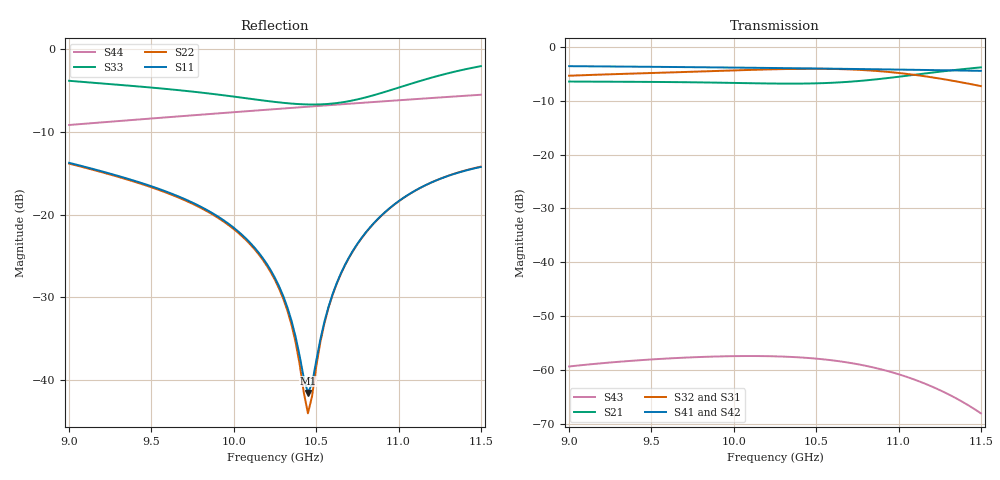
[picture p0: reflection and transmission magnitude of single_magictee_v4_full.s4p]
! Generated from PyAEDT SolutionData; AEDT ExportNetworkData workaround
# GHz S MA R 50
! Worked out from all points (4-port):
!   101 points, 9 GHz to 11.5 GHz, reference 50 ohm
!   strongest paths, dB at 9 GHz, 9.625 GHz, 10.25 GHz, 10.88 GHz, 11.5 GHz:
!     S41: -3.6, -3.7, -3.9, -4.2, -4.4
!     S42: -3.6, -3.7, -3.9, -4.2, -4.5
!     S32: -5.4, -4.7, -4.2, -4.5, -7.3
!     S31: -5.4, -4.7, -4.2, -4.5, -7.3
!     S21: -6.4, -6.5, -6.8, -6.0, -3.8
!     S43: -59.3, -57.8, -57.5, -59.7, -68.0
!   lowest |S11| = -41.6 dB at 10.45 GHz (marker M1), VSWR 1.02, Z = 50.6 + j0.595 ohm
!   |S11| at or under -10 dB: start of sweep to end of sweep
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9  0.206 139.1  0.4769 179.9  0.5398 -99.7  0.6624 44.7
   0.4769 179.9  0.2038 138.8  0.54 -99.7  0.6629 -135.3
   0.5398 -99.7  0.54 -99.7  0.6458 172.7  0.00108 -40.1
   0.6624 44.7  0.6629 -135.3  0.00108 -40.1  0.349 -113.1
9.325  0.1686 102.0  0.4746 144.8  0.5614 -157.5  0.6566 7.4
       0.4746 144.8  0.1664 101.6  0.5616 -157.4  0.6571 -172.5
       0.5614 -157.5  0.5616 -157.4  0.6078 91.1  0.001201 -104.8
       0.6566 7.4  0.6571 -172.5  0.001201 -104.8  0.3702 -147.9
9.65  0.1308 65.2  0.471 110.9  0.5815 145.6  0.6503 -28.7
      0.471 110.9  0.1287 64.5  0.5817 145.6  0.6506 151.3
      0.5815 145.6  0.5817 145.6  0.5687 9.8  0.001293 -169.4
      0.6503 -28.7  0.6506 151.3  0.001293 -169.4  0.3923 177.9
10.025  0.07949 22.1  0.4623 73.7  0.6064 79.9  0.6421 -69.4
        0.4623 73.7  0.07796 20.7  0.6065 79.9  0.6421 110.6
        0.6064 79.9  0.6065 79.9  0.5142 -86.9  0.001348 115.8
        0.6421 -69.4  0.6421 110.6  0.001348 115.8  0.4188 139.0
10.45  0.008365 44.7  0.4573 35.7  0.626 3.2  0.6316 -114.5
       0.4573 35.7  0.006291 46.3  0.6264 3.3  0.6313 65.5
       0.626 3.2  0.6264 3.3  0.4645 150.6  0.001295 29.5
       0.6316 -114.5  0.6313 65.5  0.001295 29.5  0.4501 95.4
10.975  0.1156 59.4  0.5226 -8.0  0.5774 -95.6  0.6165 -169.2
        0.5226 -8.0  0.1152 59.8  0.5781 -95.5  0.616 10.9
        0.5774 -95.6  0.5781 -95.5  0.5765 -13.8  0.0009393 -77.8
        0.6165 -169.2  0.616 10.9  0.0009393 -77.8  0.4904 42.2
11.5  0.1945 -13.3  0.6455 -60.3  0.4316 168.1  0.5993 136.8
      0.6455 -60.3  0.1954 -13.5  0.4324 168.1  0.5985 -43.2
      0.4316 168.1  0.4324 168.1  0.7917 -153.9  0.0003966 -168.5
      0.5993 136.8  0.5985 -43.2  0.0003966 -168.5  0.5317 -10.7
